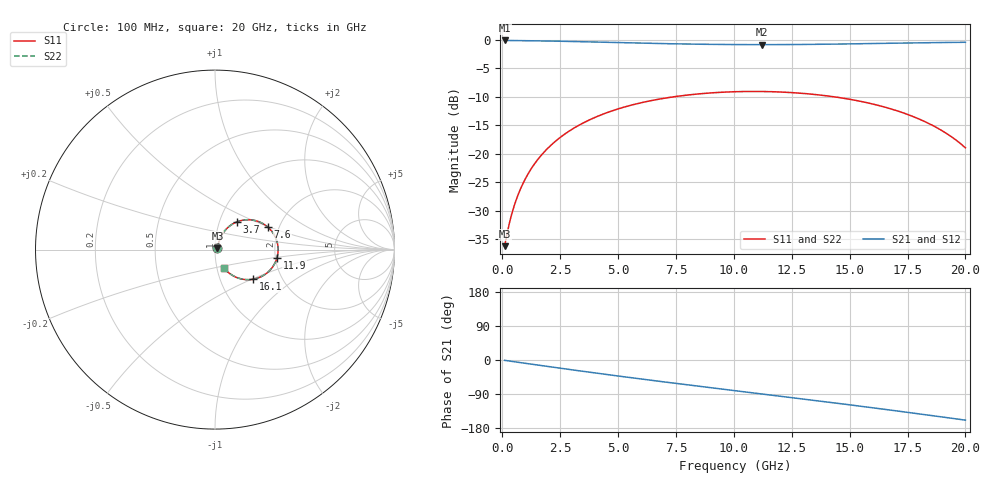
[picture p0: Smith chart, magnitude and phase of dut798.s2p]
! Touchstone file exported from HFSS 2026.1.0
!  File:  C:/ffzhzh/LocalFiles/Ansys_Project_Files/temp_train_TSV_RDL_798_1783262434_39728.aedt
!  Generated:  10:50:04 PM Jul  5, 2026
!  Design:  TSV_RDL
!  Project:  temp_train_TSV_RDL_798_1783262434_39728
! Variables:
!  h_bsmrdl = 4.31um
!  h_ox = 20um
!  h_rdl = 5um
!  h_sub = 73.46um
!  h_tmrdl = 2.79um
!  h_tsv = 73.46um
!  h_via = 3um
!  l_bsmrdl = 483.23um
!  l_sub = 2628.85um
!  l_tmrdl = 156.81um
!  m_sub = 200um
!  pitch = 37.92um
!  r_tsv = 3.45um
!  s_tmrdl = 10um
!  w_bsmrdl = 25.86um
!  w_sub = 500um
!  w_tmrdl = 24.78um
!  x_tsv_center1 = 169.2um
!  x_tsv_center2 = 678.29um
!  x_tsv_center3 = 859.88um
!  x_tsv_center4 = 1368.97um
!  x_tsv_center5 = 1550.56um
!  x_tsv_center6 = 2059.65um
# GHz S MA R 50.000000
! Terminal data exported
! Port[1] = TM_RDL1_1_T1
! Port[2] = TM_RDL5_1_T1
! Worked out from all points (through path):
!   200 points, 100 MHz to 20 GHz, reference 50 ohm
!   highest |S21| = -0.12 dB at 100 MHz (marker M1); lowest = -0.9 dB at 11.2 GHz (marker M2)
!   group delay of S21, straight-line fit = 21.6 ps
!   lowest |S11| = -36.3 dB at 100 MHz (marker M3), VSWR 1.03, Z = 51.4 + j0.673 ohm
!   |S11| at or under -10 dB: start of sweep to 7.434 GHz; 14.29 GHz to end of sweep
!   |S22| runs from -36.3 to -9.1 dB; largest |S21 - S12| = 1.2e-12
!   S11 on the Smith chart (normalised r, x): 100 MHz: 1.03, +0.01; 3.7 GHz: 1.21, +0.39; 7.6 GHz: 1.75, +0.49; 11.9 GHz: 2.04, -0.21; 16.1 GHz: 1.43, -0.51; 20 GHz: 1.08, -0.22
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0.1  0.01539 25.2  0.9862 -0.9  0.9862 -0.9  0.01539 25.2
! Gamma 0 0 0 0
! Port Impedance 50 0 50 0
0.3  0.02419 48.4  0.9847 -2.7  0.9847 -2.7  0.02419 48.4
0.6  0.03919 60.2  0.983 -5.3  0.983 -5.3  0.03919 60.2
0.9  0.05498 64.2  0.9816 -7.9  0.9816 -7.9  0.05498 64.2
1.2  0.07101 65.3  0.9801 -10.5  0.9801 -10.5  0.07101 65.3
1.7  0.0976 64.4  0.9771 -14.8  0.9771 -14.8  0.0976 64.4
2.2  0.1236 62.0  0.9733 -19.1  0.9733 -19.1  0.1236 62.0
3.5  0.1862 53.4  0.961 -30.0  0.961 -30.0  0.1862 53.4
3.7  0.1951 52.0  0.9589 -31.7  0.9589 -31.7  0.1951 52.0
5.1  0.2506 41.6  0.9437 -43.0  0.9437 -43.0  0.2506 41.6
6.8  0.3018 29.0  0.9267 -56.4  0.9267 -56.4  0.3018 29.0
7.6  0.3196 23.2  0.92 -62.5  0.92 -62.5  0.3196 23.2
10.1  0.35 5.2  0.9073 -81.3  0.9073 -81.3  0.35 5.2
11.2  0.3513 -2.6  0.906 -89.5  0.906 -89.5  0.3513 -2.6
11.9  0.3484 -7.6  0.9066 -94.7  0.9066 -94.7  0.3484 -7.6
13.4  0.3322 -18.3  0.9111 -106.0  0.9111 -106.0  0.3322 -18.3
14.8  0.305 -28.4  0.9185 -116.7  0.9185 -116.7  0.305 -28.3
16.1  0.2696 -37.8  0.9272 -126.9  0.9272 -126.9  0.2696 -37.7
16.7  0.25 -42.1  0.9315 -131.7  0.9315 -131.7  0.25 -42.1
18.6  0.1762 -55.5  0.944 -147.1  0.944 -147.1  0.1762 -55.5
19.4  0.1405 -60.6  0.948 -153.7  0.948 -153.7  0.1405 -60.5
20  0.1125 -63.8  0.9504 -158.7  0.9504 -158.7  0.1125 -63.7
